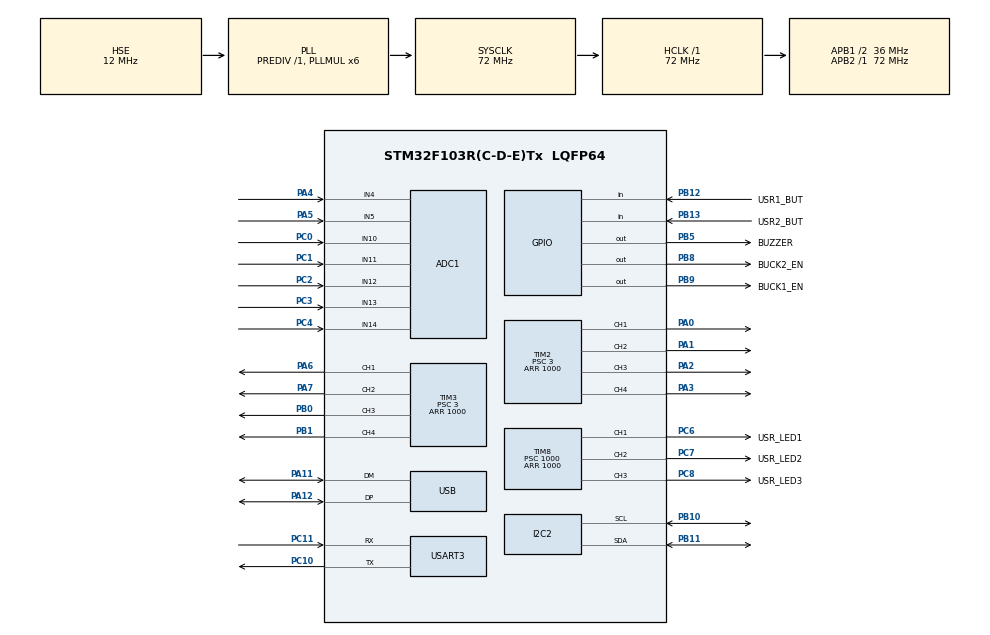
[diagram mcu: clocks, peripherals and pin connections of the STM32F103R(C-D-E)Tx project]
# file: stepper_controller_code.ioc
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ADC1.Channel-2\#ChannelRegularConversion=ADC_CHANNEL_4
ADC1.Channel-3\#ChannelRegularConversion=ADC_CHANNEL_5
ADC1.Channel-4\#ChannelRegularConversion=ADC_CHANNEL_10
ADC1.Channel-5\#ChannelRegularConversion=ADC_CHANNEL_11
ADC1.Channel-6\#ChannelRegularConversion=ADC_CHANNEL_12
ADC1.Channel-7\#ChannelRegularConversion=ADC_CHANNEL_13
ADC1.Channel-8\#ChannelRegularConversion=ADC_CHANNEL_14
ADC1.Channel-9\#ChannelRegularConversion=ADC_CHANNEL_TEMPSENSOR
ADC1.ContinuousConvMode=ENABLE
ADC1.NbrOfConversion=8
ADC1.NbrOfConversionFlag=1
ADC1.Rank-2\#ChannelRegularConversion=1
ADC1.Rank-3\#ChannelRegularConversion=2
ADC1.Rank-4\#ChannelRegularConversion=3
ADC1.Rank-5\#ChannelRegularConversion=4
ADC1.Rank-6\#ChannelRegularConversion=5
ADC1.Rank-7\#ChannelRegularConversion=6
ADC1.Rank-8\#ChannelRegularConversion=7
ADC1.Rank-9\#ChannelRegularConversion=8
ADC1.SamplingTime-2\#ChannelRegularConversion=ADC_SAMPLETIME_239CYCLES_5
ADC1.SamplingTime-3\#ChannelRegularConversion=ADC_SAMPLETIME_239CYCLES_5
ADC1.SamplingTime-4\#ChannelRegularConversion=ADC_SAMPLETIME_239CYCLES_5
ADC1.SamplingTime-5\#ChannelRegularConversion=ADC_SAMPLETIME_239CYCLES_5
ADC1.SamplingTime-6\#ChannelRegularConversion=ADC_SAMPLETIME_239CYCLES_5
ADC1.SamplingTime-7\#ChannelRegularConversion=ADC_SAMPLETIME_239CYCLES_5
ADC1.SamplingTime-8\#ChannelRegularConversion=ADC_SAMPLETIME_239CYCLES_5
ADC1.SamplingTime-9\#ChannelRegularConversion=ADC_SAMPLETIME_239CYCLES_5
ADC1.master=1
Dma.ADC1.0.Direction=DMA_PERIPH_TO_MEMORY
Dma.ADC1.0.Instance=DMA1_Channel1
Dma.ADC1.0.MemDataAlignment=DMA_MDATAALIGN_HALFWORD
Dma.ADC1.0.MemInc=DMA_MINC_ENABLE
Dma.ADC1.0.Mode=DMA_CIRCULAR
Dma.ADC1.0.PeriphDataAlignment=DMA_PDATAALIGN_HALFWORD
Dma.ADC1.0.PeriphInc=DMA_PINC_DISABLE
Dma.ADC1.0.Priority=DMA_PRIORITY_LOW
Dma.Request0=ADC1
FREERTOS.Tasks01=defaultTask,24,128,StartDefaultTask,Default,NULL,Static,defaultTaskBuffer,defaultTaskControlBlock;pwrManagerTask,24,128,startPowerManager,Default,NULL,Static,powerManagerTasBuffer,powerManagerTasControlBlock;BuzzerTask,8,128,StartBuzzer,Default,signalType,Static,BuzzerBuffer,BuzzerControlBlock
Mcu.Family=STM32F1
Mcu.Name=STM32F103R(C-D-E)Tx
Mcu.Package=LQFP64
NVIC.ADC1_2_IRQn=true\:5\:0\:false\:false\:true\:true\:true\:true\:true
NVIC.DMA1_Channel1_IRQn=true\:5\:0\:false\:false\:true\:true\:false\:true\:true
NVIC.PriorityGroup=NVIC_PRIORITYGROUP_4
NVIC.TIM1_UP_IRQn=true\:15\:0\:false\:false\:true\:false\:false\:true\:true
NVIC.TIM4_IRQn=true\:5\:0\:false\:false\:true\:true\:true\:true\:true
NVIC.TIM6_IRQn=true\:5\:0\:false\:false\:true\:false\:true\:true\:true
NVIC.TIM7_IRQn=true\:5\:0\:false\:false\:true\:false\:true\:true\:true
NVIC.TimeBase=TIM1_UP_IRQn
NVIC.TimeBaseIP=TIM1
NVIC.USART3_IRQn=true\:5\:0\:false\:false\:true\:true\:true\:true\:true
NVIC.USB_LP_CAN1_RX0_IRQn=true\:5\:0\:false\:false\:true\:true\:false\:true\:true
PA0-WKUP.Signal=S_TIM2_CH1_ETR
PA1.Signal=S_TIM2_CH2
PA11.Mode=Device
PA11.Signal=USB_DM
PA12.Mode=Device
PA12.Signal=USB_DP
PA13.Mode=Serial_Wire
PA13.Signal=SYS_JTMS-SWDIO
PA14.Mode=Serial_Wire
PA14.Signal=SYS_JTCK-SWCLK
PA2.Signal=S_TIM2_CH3
PA3.Signal=S_TIM2_CH4
PA4.Signal=ADCx_IN4
PA5.Signal=ADCx_IN5
PA6.Signal=S_TIM3_CH1
PA7.Signal=S_TIM3_CH2
PB0.Signal=S_TIM3_CH3
PB1.Signal=S_TIM3_CH4
PB10.Mode=I2C
PB10.Signal=I2C2_SCL
PB11.Mode=I2C
PB11.Signal=I2C2_SDA
PB12.GPIO_Label=USR1_BUT
PB12.Signal=GPIO_Input
PB13.GPIO_Label=USR2_BUT
PB13.Signal=GPIO_Input
PB5.GPIO_Label=BUZZER
PB5.Signal=GPIO_Output
PB8.GPIO_Label=BUCK2_EN
PB8.Signal=GPIO_Output
PB9.GPIO_Label=BUCK1_EN
PB9.Signal=GPIO_Output
PC0.Signal=ADCx_IN10
PC1.Signal=ADCx_IN11
PC10.Mode=Asynchronous
PC10.Signal=USART3_TX
PC11.Mode=Asynchronous
PC11.Signal=USART3_RX
PC2.Signal=ADCx_IN12
PC3.Signal=ADCx_IN13
PC4.Signal=ADCx_IN14
PC6.GPIO_Label=USR_LED1
PC6.Signal=S_TIM8_CH1
PC7.GPIO_Label=USR_LED2
PC7.Signal=S_TIM8_CH2
PC8.GPIO_Label=USR_LED3
PC8.Signal=S_TIM8_CH3
PD0-OSC_IN.Mode=HSE-External-Oscillator
PD0-OSC_IN.Signal=RCC_OSC_IN
PD1-OSC_OUT.Mode=HSE-External-Oscillator
PD1-OSC_OUT.Signal=RCC_OSC_OUT
ProjectManager.HeapSize=0x200
ProjectManager.StackSize=0x400
ProjectManager.TargetToolchain=Makefile
RCC.ADCPresc=RCC_ADCPCLK2_DIV6
RCC.AHBFreq_Value=72000000
RCC.APB1CLKDivider=RCC_HCLK_DIV2
RCC.APB1Freq_Value=36000000
RCC.APB1TimFreq_Value=72000000
RCC.APB2Freq_Value=72000000
RCC.APB2TimFreq_Value=72000000
RCC.HCLKFreq_Value=72000000
RCC.HSE_VALUE=12000000
RCC.PLLMUL=RCC_PLL_MUL6
RCC.SYSCLKFreq_VALUE=72000000
RCC.SYSCLKSource=RCC_SYSCLKSOURCE_PLLCLK
RCC.USBFreq_Value=48000000
RCC.USBPrescaler=RCC_USBCLKSOURCE_PLL_DIV1_5
SH.ADCx_IN10.0=ADC1_IN10,IN10
SH.ADCx_IN11.0=ADC1_IN11,IN11
SH.ADCx_IN12.0=ADC1_IN12,IN12
SH.ADCx_IN13.0=ADC1_IN13,IN13
SH.ADCx_IN14.0=ADC1_IN14,IN14
SH.ADCx_IN4.0=ADC1_IN4,IN4
SH.ADCx_IN5.0=ADC1_IN5,IN5
SH.S_TIM2_CH1_ETR.0=TIM2_CH1,PWM Generation1 CH1
SH.S_TIM2_CH2.0=TIM2_CH2,PWM Generation2 CH2
SH.S_TIM2_CH3.0=TIM2_CH3,PWM Generation3 CH3
SH.S_TIM2_CH4.0=TIM2_CH4,PWM Generation4 CH4
SH.S_TIM3_CH1.0=TIM3_CH1,PWM Generation1 CH1
SH.S_TIM3_CH2.0=TIM3_CH2,PWM Generation2 CH2
SH.S_TIM3_CH3.0=TIM3_CH3,PWM Generation3 CH3
SH.S_TIM3_CH4.0=TIM3_CH4,PWM Generation4 CH4
SH.S_TIM8_CH1.0=TIM8_CH1,PWM Generation1 CH1
SH.S_TIM8_CH2.0=TIM8_CH2,PWM Generation2 CH2
SH.S_TIM8_CH3.0=TIM8_CH3,PWM Generation3 CH3
TIM2.Channel-PWM\ Generation1\ CH1=TIM_CHANNEL_1
TIM2.Channel-PWM\ Generation2\ CH2=TIM_CHANNEL_2
TIM2.Channel-PWM\ Generation3\ CH3=TIM_CHANNEL_3
TIM2.Channel-PWM\ Generation4\ CH4=TIM_CHANNEL_4
TIM2.Period=1000
TIM2.Prescaler=3
TIM3.Channel-PWM\ Generation1\ CH1=TIM_CHANNEL_1
TIM3.Channel-PWM\ Generation2\ CH2=TIM_CHANNEL_2
TIM3.Channel-PWM\ Generation3\ CH3=TIM_CHANNEL_3
TIM3.Channel-PWM\ Generation4\ CH4=TIM_CHANNEL_4
TIM3.Period=1000
TIM3.Prescaler=3
TIM4.Period=1000
TIM4.Prescaler=72-1
TIM6.Period=1000
TIM6.Prescaler=72-1
TIM7.Period=1000-1
TIM7.Prescaler=(72)-1
TIM8.Channel-PWM\ Generation1\ CH1=TIM_CHANNEL_1
TIM8.Channel-PWM\ Generation2\ CH2=TIM_CHANNEL_2
TIM8.Channel-PWM\ Generation3\ CH3=TIM_CHANNEL_3
TIM8.Period=1000
TIM8.Prescaler=1000
USART3.VirtualMode=VM_ASYNC
USB.low_power_enable=DISABLE
USB_DEVICE.CLASS_NAME_FS=CDC
USB_DEVICE.PRODUCT_STRING_CDC_FS=STAR_GUIDER
USB_DEVICE.VirtualMode=Cdc
USB_DEVICE.VirtualModeFS=Cdc_FS
VP_ADC1_TempSens_Input.Mode=IN-TempSens
VP_FREERTOS_VS_CMSIS_V2.Mode=CMSIS_V2
VP_SYS_VS_tim1.Mode=TIM1
VP_TIM4_VS_ClockSourceINT.Mode=Internal
VP_TIM6_VS_ClockSourceINT.Mode=Enable_Timer
VP_TIM7_VS_ClockSourceINT.Mode=Enable_Timer
VP_USB_DEVICE_VS_USB_DEVICE_CDC_FS.Mode=CDC_FS
board=custom

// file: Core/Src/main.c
/* USER CODE BEGIN Header */
/**
  ******************************************************************************
  * @file           : main.c
  * @brief          : Main program body
  ******************************************************************************
  * @attention
  *
  * Copyright (c) 2024 STMicroelectronics.
  * All rights reserved.
  *
  * This software is licensed under terms that can be found in the LICENSE file
  * in the root directory of this software component.
  * If no LICENSE file comes with this software, it is provided AS-IS.
  *
  ******************************************************************************
  */
/* USER CODE END Header */
#include "main.h"
#include "cmsis_os.h"
#include "adc.h"
#include "dma.h"
#include "i2c.h"
#include "tim.h"
#include "usart.h"
#include "usb_device.h"
#include "gpio.h"

/* USER CODE BEGIN Includes */
#include "motor_controller.h"
#include "trace.h"
/* USER CODE END Includes */

/* USER CODE BEGIN PV */
int dduupa;
extern uint16_t adc_readings[];
/* USER CODE END PV */

void SystemClock_Config(void);
void MX_FREERTOS_Init(void);

int main(void)
{

  /* MCU Configuration--------------------------------------------------------*/

  /* Reset of all peripherals, Initializes the Flash interface and the Systick. */
  HAL_Init();

  /* Configure the system clock */
  SystemClock_Config();

  /* Initialize all configured peripherals */
  MX_GPIO_Init();
  MX_DMA_Init();
  MX_ADC1_Init();
  MX_TIM2_Init();
  MX_TIM3_Init();
  MX_USART3_UART_Init();
  MX_TIM8_Init();
  MX_TIM6_Init();
  MX_TIM7_Init();
  MX_I2C2_Init();
  MX_TIM4_Init();
  /* USER CODE BEGIN 2 */
  HAL_Delay(100);
  LOG_INFO("---Stepper Controller---\r\n"
           "Type -h for help");
  /* USER CODE END 2 */

  /* Init scheduler */
  osKernelInitialize();  /* Call init function for freertos objects (in freertos.c) */
  MX_FREERTOS_Init();

  /* Start scheduler */
  osKernelStart();

  /* We should never get here as control is now taken by the scheduler */
  /* Infinite loop */
  while (1)
  {

  }
}

void SystemClock_Config(void)
{
  RCC_OscInitTypeDef RCC_OscInitStruct = {0};
  RCC_ClkInitTypeDef RCC_ClkInitStruct = {0};
  RCC_PeriphCLKInitTypeDef PeriphClkInit = {0};

  /** Initializes the RCC Oscillators according to the specified parameters
  * in the RCC_OscInitTypeDef structure.
  */
  RCC_OscInitStruct.OscillatorType = RCC_OSCILLATORTYPE_HSE;
  RCC_OscInitStruct.HSEState = RCC_HSE_ON;
  RCC_OscInitStruct.HSEPredivValue = RCC_HSE_PREDIV_DIV1;
  RCC_OscInitStruct.HSIState = RCC_HSI_ON;
  RCC_OscInitStruct.PLL.PLLState = RCC_PLL_ON;
  RCC_OscInitStruct.PLL.PLLSource = RCC_PLLSOURCE_HSE;
  RCC_OscInitStruct.PLL.PLLMUL = RCC_PLL_MUL6;
  if (HAL_RCC_OscConfig(&RCC_OscInitStruct) != HAL_OK)
  {
    Error_Handler();
  }

  /** Initializes the CPU, AHB and APB buses clocks
  */
  RCC_ClkInitStruct.ClockType = RCC_CLOCKTYPE_HCLK|RCC_CLOCKTYPE_SYSCLK
                              |RCC_CLOCKTYPE_PCLK1|RCC_CLOCKTYPE_PCLK2;
  RCC_ClkInitStruct.SYSCLKSource = RCC_SYSCLKSOURCE_PLLCLK;
  RCC_ClkInitStruct.AHBCLKDivider = RCC_SYSCLK_DIV1;
  RCC_ClkInitStruct.APB1CLKDivider = RCC_HCLK_DIV2;
  RCC_ClkInitStruct.APB2CLKDivider = RCC_HCLK_DIV1;

  if (HAL_RCC_ClockConfig(&RCC_ClkInitStruct, FLASH_LATENCY_2) != HAL_OK)
  {
    Error_Handler();
  }
  PeriphClkInit.PeriphClockSelection = RCC_PERIPHCLK_ADC|RCC_PERIPHCLK_USB;
  PeriphClkInit.AdcClockSelection = RCC_ADCPCLK2_DIV6;
  PeriphClkInit.UsbClockSelection = RCC_USBCLKSOURCE_PLL_DIV1_5;
  if (HAL_RCCEx_PeriphCLKConfig(&PeriphClkInit) != HAL_OK)
  {
    Error_Handler();
  }
}

void HAL_TIM_PeriodElapsedCallback(TIM_HandleTypeDef *htim)
{
  /* USER CODE BEGIN Callback 0 */
  if (htim->Instance == TIM6){
    updateRaPWM();
  }
  else if (htim->Instance == TIM7){
    updateDecPWM();
  }
  else if (htim->Instance == TIM4){
    HAL_GPIO_TogglePin(BUZZER_GPIO_Port, BUZZER_Pin);
  }
  /* USER CODE END Callback 0 */
  if (htim->Instance == TIM1) {
    HAL_IncTick();
  }
}

void Error_Handler(void)
{
  __disable_irq();
  while (1)
  {
  }
}

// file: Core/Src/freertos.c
/* USER CODE BEGIN Header */
/**
  ******************************************************************************
  * File Name          : freertos.c
  * Description        : Code for freertos applications
  ******************************************************************************
  * @attention
  *
  * Copyright (c) 2024 STMicroelectronics.
  * All rights reserved.
  *
  * This software is licensed under terms that can be found in the LICENSE file
  * in the root directory of this software component.
  * If no LICENSE file comes with this software, it is provided AS-IS.
  *
  ******************************************************************************
  */
/* USER CODE END Header */

#include "FreeRTOS.h"
#include "task.h"
#include "main.h"
#include "cmsis_os.h"

/* USER CODE BEGIN Includes */
#include <string.h>
#include <stdio.h>
#include <stdlib.h>
#include "adc.h"
#include "power_manager.h"
#include "motor_controller.h"
#include "buzzer.h"s
/* USER CODE END Includes */

typedef StaticTask_t osStaticThreadDef_t;

/* USER CODE BEGIN PD */
#define IsLetter(letter) ((letter >='a' && letter <= 'z') || (letter >='A' && letter <= 'Z'))
#define IsNumber(number) ((number >='0' && number <= '9') || (number == '-'))
#define MAX_CMD_LENGTH     (5U)
#define MAX_NUM_ARG_LENGTH (10U)
/* USER CODE END PD */

/* USER CODE BEGIN Variables */
extern TIM_HandleTypeDef htim2;
extern TIM_HandleTypeDef htim3;
extern TIM_HandleTypeDef htim8;
extern TIM_HandleTypeDef htim4;
extern uint8_t uart_recieve_buff[1];
extern UART_HandleTypeDef huart3;
int suspendVoltageInfo = 0;
// int runBuzzerSignal = 0;
// int runBuzzerSignalQueue[BUZZER_QUEUE_SIZE] = {0};

/* USER CODE END Variables */
/* Definitions for defaultTask */
osThreadId_t defaultTaskHandle;
uint32_t defaultTaskBuffer[ 128 ];
osStaticThreadDef_t defaultTaskControlBlock;
const osThreadAttr_t defaultTask_attributes = {
  .name = "defaultTask",
  .cb_mem = &defaultTaskControlBlock,
  .cb_size = sizeof(defaultTaskControlBlock),
  .stack_mem = &defaultTaskBuffer[0],
  .stack_size = sizeof(defaultTaskBuffer),
  .priority = (osPriority_t) osPriorityNormal,
};
/* Definitions for pwrManagerTask */
osThreadId_t pwrManagerTaskHandle;
uint32_t powerManagerTasBuffer[ 128 ];
osStaticThreadDef_t powerManagerTasControlBlock;
const osThreadAttr_t pwrManagerTask_attributes = {
  .name = "pwrManagerTask",
  .cb_mem = &powerManagerTasControlBlock,
  .cb_size = sizeof(powerManagerTasControlBlock),
  .stack_mem = &powerManagerTasBuffer[0],
  .stack_size = sizeof(powerManagerTasBuffer),
  .priority = (osPriority_t) osPriorityNormal,
};
/* Definitions for BuzzerTask */
osThreadId_t BuzzerTaskHandle;
uint32_t BuzzerBuffer[ 128 ];
osStaticThreadDef_t BuzzerControlBlock;
const osThreadAttr_t BuzzerTask_attributes = {
  .name = "BuzzerTask",
  .cb_mem = &BuzzerControlBlock,
  .cb_size = sizeof(BuzzerControlBlock),
  .stack_mem = &BuzzerBuffer[0],
  .stack_size = sizeof(BuzzerBuffer),
  .priority = (osPriority_t) osPriorityLow,
};

/* USER CODE BEGIN FunctionPrototypes */
int USB_CDC_RxHandler(uint8_t* Buf, uint32_t *Len);
extern uint8_t CDC_Transmit_FS(uint8_t* Buf, uint16_t Len);
extern uint16_t adc_readings[];
uint8_t uart_transmit_buffer[100];

/* USER CODE END FunctionPrototypes */

void StartDefaultTask(void *argument);
void startPowerManager(void *argument);
void StartBuzzer(void *argument);

extern void MX_USB_DEVICE_Init(void);
void MX_FREERTOS_Init(void); /* (MISRA C 2004 rule 8.1) */

void MX_FREERTOS_Init(void) {
  /* USER CODE BEGIN Init */
  static int signalType = 0;
  /* USER CODE END Init */

  /* Create the thread(s) */
  /* creation of defaultTask */
  defaultTaskHandle = osThreadNew(StartDefaultTask, NULL, &defaultTask_attributes);

  /* creation of pwrManagerTask */
  pwrManagerTaskHandle = osThreadNew(startPowerManager, NULL, &pwrManagerTask_attributes);

  /* creation of BuzzerTask */
  BuzzerTaskHandle = osThreadNew(StartBuzzer, (void*) signalType, &BuzzerTask_attributes);

}

void StartDefaultTask(void *argument)
{
  /* init code for USB_DEVICE */
  MX_USB_DEVICE_Init();
  /* USER CODE BEGIN StartDefaultTask */
  static int signalType = 0;
  startAdc();
  queueBuzzerSignal(BUZZER_SIGNAL_STARTUP);
  osDelay(200);
  callibrateCurrent();
  HAL_TIM_PWM_Start(&htim8, TIM_CHANNEL_1);
  HAL_TIM_PWM_Start(&htim8, TIM_CHANNEL_2);
  HAL_TIM_PWM_Start(&htim8, TIM_CHANNEL_3);
  HAL_UART_Receive_IT(&huart3, uart_recieve_buff, 1);
  SetBuck1(ENABLE);
  SetBuck2(ENABLE);
  initializeMotors();
  estimateResistance();
  startMotorAutoMode();
  // startStepsAutoMode();
  // moveRaSteps(54000);
  setDecMotorSpeed(0);
  setRaMotorSpeed(0);
  const uint16_t LED_BRIGHTNESS = 30;

  /* Infinite loop */
  for(;;)
  {
    for(uint16_t i = 0; i < LED_BRIGHTNESS; i++){
      htim8.Instance->CCR3 = LED_BRIGHTNESS * 10U - i * 10U - 8U;
      osDelay(10);
    }

  }
  /* USER CODE END StartDefaultTask */
}

void startPowerManager(void *argument)
{
  /* USER CODE BEGIN startPowerManager */

  osDelay(1250);
  initPowerManager();
  /* Infinite loop */
  for(;;)
  {
    updatePowerManager();
    osDelay(250);
  }
  /* USER CODE END startPowerManager */
}

/* USER CODE BEGIN Header_StartBuzzer */
/*ARR 1000 - 500Hz
  frq = 1/ARR * 500 000
  ARR = 500 000 / frq
*/

/**
* @brief Function implementing the BuzzerTask thread.
* @param argument: Not used
* @retval None
*/
/* USER CODE END Header_StartBuzzer */
void StartBuzzer(void *argument)
{
  /* USER CODE BEGIN StartBuzzer */
  /* Infinite loop */
  for(;;){
    osDelay(250);
    handleBuzzer();
  }
  /* USER CODE END StartBuzzer */
}
